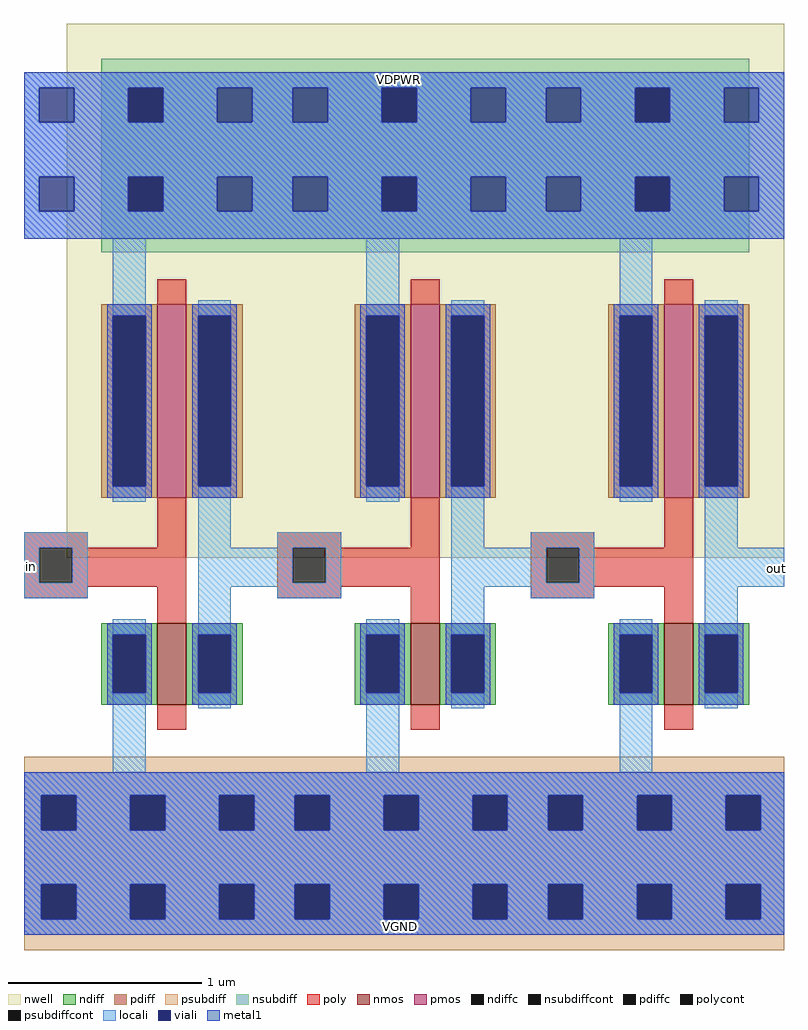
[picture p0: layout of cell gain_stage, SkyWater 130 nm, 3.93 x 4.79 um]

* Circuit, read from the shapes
.subckt gain_stage in out VGND VDPWR
XM1 n1 in VGND VGND sky130_fd_pr__nfet_01v8 w=0.42 l=0.15
XM2 n2 n1 VGND VGND sky130_fd_pr__nfet_01v8 w=0.42 l=0.15
XM3 out n2 VGND VGND sky130_fd_pr__nfet_01v8 w=0.42 l=0.15
XM4 n1 in VDPWR VDPWR sky130_fd_pr__pfet_01v8 w=1 l=0.15
XM5 n2 n1 VDPWR VDPWR sky130_fd_pr__pfet_01v8 w=1 l=0.15
XM6 out n2 VDPWR VDPWR sky130_fd_pr__pfet_01v8 w=1 l=0.15
.ends

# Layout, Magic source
magic
tech sky130A
<< nwell >>
rect 131 461 153 479
rect 262 461 284 479
rect 113 361 171 461
rect 244 361 302 461
rect 131 203 153 361
rect 262 203 284 361
<< nsubdiff >>
rect 113 361 171 461
rect 244 361 302 461
<< locali >>
rect 0 195 8 202
rect 385 194 393 201
<< metal1 >>
rect 185 446 202 454
rect 186 8 203 16
use inverter_p1_n0o42  inverter_p1_n0o42_0
transform 1 0 40 0 1 114
box -40 -114 91 365
use inverter_p1_n0o42  inverter_p1_n0o42_1
transform 1 0 171 0 1 114
box -40 -114 91 365
use inverter_p1_n0o42  inverter_p1_n0o42_2
transform 1 0 302 0 1 114
box -40 -114 91 365
<< labels >>
rlabel locali 0 195 8 202 7 in
port 1 w
rlabel locali 385 194 393 201 3 out
port 2 e
rlabel metal1 186 8 203 16 5 VGND
port 3 s
rlabel metal1 185 446 202 454 1 VDPWR
port 4 n
<< end >>

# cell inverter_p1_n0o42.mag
magic
tech sky130A
magscale 1 2
<< nwell >>
rect -36 502 182 730
rect -16 478 152 502
rect 12 444 46 478
<< psubdiff >>
rect -80 -68 182 -28
rect -80 -104 -62 -68
rect -26 -104 30 -68
rect 66 -104 122 -68
rect 158 -104 182 -68
rect -80 -160 182 -104
rect -80 -196 -62 -160
rect -26 -196 30 -160
rect 66 -196 122 -160
rect 158 -196 182 -160
rect -80 -228 182 -196
<< nsubdiff >>
rect 0 664 146 694
rect 0 628 28 664
rect 64 628 146 664
rect 0 572 146 628
rect 0 536 28 572
rect 64 536 146 572
rect 0 494 146 536
<< psubdiffcont >>
rect -62 -104 -26 -68
rect 30 -104 66 -68
rect 122 -104 158 -68
rect -62 -196 -26 -160
rect 30 -196 66 -160
rect 122 -196 158 -160
<< nsubdiffcont >>
rect 28 628 64 664
rect 28 536 64 572
<< poly >>
rect -80 188 -14 204
rect 58 188 88 214
rect -80 152 -64 188
rect -30 152 88 188
rect -80 148 88 152
rect -80 136 -14 148
rect 58 136 88 148
<< polycont >>
rect -64 152 -30 188
<< locali >>
rect -80 664 182 680
rect -80 628 -64 664
rect -28 628 28 664
rect 64 628 120 664
rect 156 628 182 664
rect -80 572 182 628
rect -80 536 -64 572
rect -28 536 28 572
rect 64 536 120 572
rect 156 536 182 572
rect -80 508 182 536
rect 12 444 46 508
rect -80 188 -14 204
rect -80 152 -64 188
rect -30 152 -14 188
rect -80 136 -14 152
rect 100 188 134 236
rect 100 148 182 188
rect 100 114 134 148
rect 12 -44 46 22
rect -80 -68 182 -44
rect -80 -104 -62 -68
rect -26 -104 30 -68
rect 66 -104 122 -68
rect 158 -104 182 -68
rect -80 -160 182 -104
rect -80 -196 -62 -160
rect -26 -196 30 -160
rect 66 -196 122 -160
rect 158 -196 182 -160
rect -80 -212 182 -196
<< viali >>
rect -64 628 -28 664
rect 28 628 64 664
rect 120 628 156 664
rect -64 536 -28 572
rect 28 536 64 572
rect 120 536 156 572
rect -62 -104 -26 -68
rect 30 -104 66 -68
rect 122 -104 158 -68
rect -62 -196 -26 -160
rect 30 -196 66 -160
rect 122 -196 158 -160
<< metal1 >>
rect -80 664 182 680
rect -80 628 -64 664
rect -28 628 28 664
rect 64 628 120 664
rect 156 628 182 664
rect -80 572 182 628
rect -80 536 -64 572
rect -28 536 28 572
rect 64 536 120 572
rect 156 536 182 572
rect -80 508 182 536
rect -80 -68 182 -44
rect -80 -104 -62 -68
rect -26 -104 30 -68
rect 66 -104 122 -68
rect 158 -104 182 -68
rect -80 -160 182 -104
rect -80 -196 -62 -160
rect -26 -196 30 -160
rect 66 -196 122 -160
rect 158 -196 182 -160
rect -80 -212 182 -196
use sky130_fd_pr__nfet_01v8_PNPQML  sky130_fd_pr__nfet_01v8_PNPQML_0
transform 1 0 73 0 1 68
box -73 -68 73 68
use sky130_fd_pr__pfet_01v8_TH65V5  sky130_fd_pr__pfet_01v8_TH65V5_0
transform 1 0 73 0 1 340
box -109 -162 109 162
<< end >>

# cell sky130_fd_pr__nfet_01v8_PNPQML: kit device sky130_fd_pr__nfet_01v8, w 0.420 l 0.150 m 1 nf 1 diffcov 100 polycov 100 guard 0 glc 1 grc 1 gtc 1 gbc 1 tbcov 100 rlcov 100 topc 0 botc 0 poverlap 0 doverlap 1 lmin 0.15 wmin 0.42 class mosfet compatible {sky130_fd_pr__nfet_01v8 sky130_fd_pr__nfet_01v8_lvt sky130_fd_bs_flash__special_sonosfet_star sky130_fd_pr__nfet_g5v0d10v5 sky130_fd_pr__nfet_05v0_nvt sky130_fd_pr__nfet_03v3_nvt} full_metal 0 viasrc 100 viadrn 100 viagate 100 viagb 0 viagr 0 viagl 0 viagt 0

# cell sky130_fd_pr__pfet_01v8_TH65V5: kit device sky130_fd_pr__pfet_01v8, w 1 l 0.15 m 1 nf 1 diffcov 100 polycov 100 guard 0 glc 1 grc 1 gtc 1 gbc 1 tbcov 100 rlcov 100 topc 0 botc 0 poverlap 0 doverlap 1 lmin 0.15 wmin 0.42 class mosfet compatible {sky130_fd_pr__pfet_01v8 sky130_fd_pr__pfet_01v8_lvt sky130_fd_pr__pfet_01v8_hvt sky130_fd_pr__pfet_g5v0d10v5} full_metal 0 viasrc 100 viadrn 100 viagate 100 viagb 0 viagr 0 viagl 0 viagt 0
